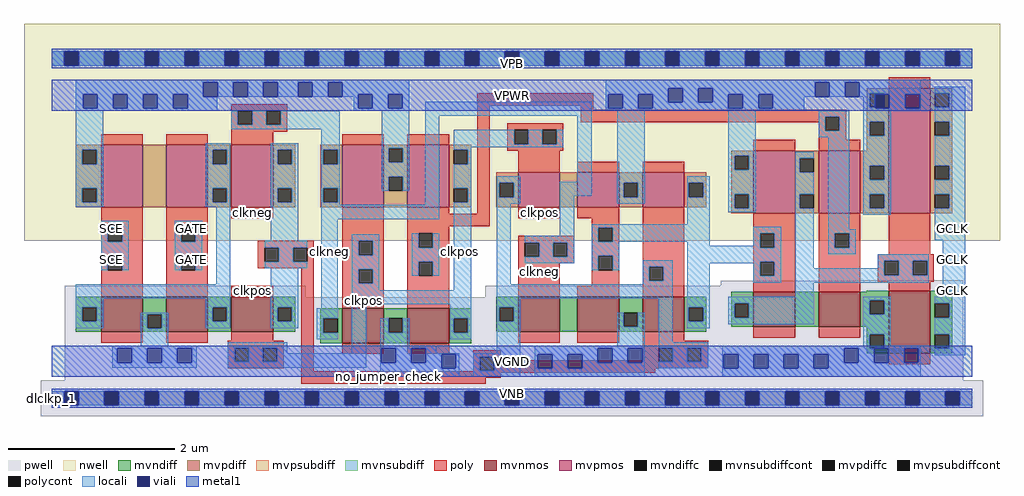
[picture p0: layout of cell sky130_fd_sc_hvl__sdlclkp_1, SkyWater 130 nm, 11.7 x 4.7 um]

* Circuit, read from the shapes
.subckt sky130_fd_sc_hvl__sdlclkp_1 CLK GATE SCE VGND VNB VPB VPWR GCLK
XM1 VGND SCE n1 VNB sky130_fd_pr__nfet_g5v0d10v5 w=0.42 l=0.5
XM2 n1 GATE VGND VNB sky130_fd_pr__nfet_g5v0d10v5 w=0.42 l=0.5
XM3 n2 n3 n1 VNB sky130_fd_pr__nfet_g5v0d10v5 w=0.42 l=0.5
XM4 VGND n3 n4 VNB sky130_fd_pr__nfet_g5v0d10v5 w=0.42 l=0.5
XM5 n3 CLK VGND VNB sky130_fd_pr__nfet_g5v0d10v5 w=0.42 l=0.5
XM6 n5 n4 n2 VNB sky130_fd_pr__nfet_g5v0d10v5 w=0.42 l=0.5
XM7 VGND n6 n5 VNB sky130_fd_pr__nfet_g5v0d10v5 w=0.42 l=0.5
XM8 n6 n2 VGND VNB sky130_fd_pr__nfet_g5v0d10v5 w=0.42 l=0.5
XM9 n7 n6 n8 VNB sky130_fd_pr__nfet_g5v0d10v5 w=0.42 l=0.5
XM10 VGND CLK n7 VNB sky130_fd_pr__nfet_g5v0d10v5 w=0.42 l=0.5
XM11 GCLK n8 VGND VNB sky130_fd_pr__nfet_g5v0d10v5 w=0.75 l=0.5
XM12 n9 SCE VPWR VPB sky130_fd_pr__pfet_g5v0d10v5 w=0.75 l=0.5
XM13 n1 GATE n9 VPB sky130_fd_pr__pfet_g5v0d10v5 w=0.75 l=0.5
XM14 n2 n4 n1 VPB sky130_fd_pr__pfet_g5v0d10v5 w=0.75 l=0.5
XM15 VPWR n3 n4 VPB sky130_fd_pr__pfet_g5v0d10v5 w=0.75 l=0.5
XM16 n3 CLK VPWR VPB sky130_fd_pr__pfet_g5v0d10v5 w=0.75 l=0.5
XM17 n10 n3 n2 VPB sky130_fd_pr__pfet_g5v0d10v5 w=0.42 l=0.5
XM18 VPWR n6 n10 VPB sky130_fd_pr__pfet_g5v0d10v5 w=0.42 l=0.5
XM19 n6 n2 VPWR VPB sky130_fd_pr__pfet_g5v0d10v5 w=0.42 l=0.5
XM20 n8 n6 VPWR VPB sky130_fd_pr__pfet_g5v0d10v5 w=0.75 l=0.5
XM21 VPWR CLK n8 VPB sky130_fd_pr__pfet_g5v0d10v5 w=0.75 l=0.5
XM22 GCLK n8 VPWR VPB sky130_fd_pr__pfet_g5v0d10v5 w=1.5 l=0.5
.ends

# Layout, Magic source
magic
tech sky130A
magscale 1 2
<< nwell >>
rect -66 377 2274 897
<< pwell >>
rect 1928 281 2186 283
rect 1604 269 2186 281
rect 32 242 610 269
rect 1040 242 2186 269
rect 32 43 2186 242
rect -26 -43 2234 43
<< mvnmos >>
rect 119 159 219 243
rect 275 159 375 243
rect 431 159 531 243
rect 697 132 797 216
rect 853 132 953 216
rect 1119 159 1219 243
rect 1261 159 1361 243
rect 1417 159 1517 243
rect 1683 171 1783 255
rect 1839 171 1939 255
rect 2007 107 2107 257
<< mvpmos >>
rect 119 457 219 607
rect 275 457 375 607
rect 431 457 531 607
rect 697 457 797 607
rect 853 457 953 607
rect 1119 457 1219 541
rect 1261 457 1361 541
rect 1417 457 1517 541
rect 1683 443 1783 593
rect 1839 443 1939 593
rect 2007 443 2107 743
<< mvndiff >>
rect 58 218 119 243
rect 58 184 74 218
rect 108 184 119 218
rect 58 159 119 184
rect 219 201 275 243
rect 219 167 230 201
rect 264 167 275 201
rect 219 159 275 167
rect 375 218 431 243
rect 375 184 386 218
rect 420 184 431 218
rect 375 159 431 184
rect 531 218 584 243
rect 531 184 542 218
rect 576 184 584 218
rect 531 159 584 184
rect 1954 255 2007 257
rect 1066 218 1119 243
rect 644 191 697 216
rect 644 157 652 191
rect 686 157 697 191
rect 644 132 697 157
rect 797 191 853 216
rect 797 157 808 191
rect 842 157 853 191
rect 797 132 853 157
rect 953 191 1006 216
rect 953 157 964 191
rect 998 157 1006 191
rect 1066 184 1074 218
rect 1108 184 1119 218
rect 1066 159 1119 184
rect 1219 159 1261 243
rect 1361 205 1417 243
rect 1361 171 1372 205
rect 1406 171 1417 205
rect 1361 159 1417 171
rect 1517 218 1570 243
rect 1517 184 1528 218
rect 1562 184 1570 218
rect 1517 159 1570 184
rect 1630 227 1683 255
rect 1630 193 1638 227
rect 1672 193 1683 227
rect 1630 171 1683 193
rect 1783 171 1839 255
rect 1939 235 2007 255
rect 1939 201 1962 235
rect 1996 201 2007 235
rect 1939 171 2007 201
rect 953 132 1006 157
rect 1954 153 2007 171
rect 1954 119 1962 153
rect 1996 119 2007 153
rect 1954 107 2007 119
rect 2107 227 2160 257
rect 2107 193 2118 227
rect 2152 193 2160 227
rect 2107 153 2160 193
rect 2107 119 2118 153
rect 2152 119 2160 153
rect 2107 107 2160 119
<< mvpdiff >>
rect 1954 731 2007 743
rect 58 595 119 607
rect 58 561 74 595
rect 108 561 119 595
rect 58 503 119 561
rect 58 469 74 503
rect 108 469 119 503
rect 58 457 119 469
rect 219 457 275 607
rect 375 595 431 607
rect 375 561 386 595
rect 420 561 431 595
rect 375 503 431 561
rect 375 469 386 503
rect 420 469 431 503
rect 375 457 431 469
rect 531 595 584 607
rect 531 561 542 595
rect 576 561 584 595
rect 531 503 584 561
rect 531 469 542 503
rect 576 469 584 503
rect 531 457 584 469
rect 644 595 697 607
rect 644 561 652 595
rect 686 561 697 595
rect 644 503 697 561
rect 644 469 652 503
rect 686 469 697 503
rect 644 457 697 469
rect 797 599 853 607
rect 797 565 808 599
rect 842 565 853 599
rect 797 531 853 565
rect 797 497 808 531
rect 842 497 853 531
rect 797 457 853 497
rect 953 595 1006 607
rect 953 561 964 595
rect 998 561 1006 595
rect 953 503 1006 561
rect 953 469 964 503
rect 998 469 1006 503
rect 953 457 1006 469
rect 1954 697 1962 731
rect 1996 697 2007 731
rect 1954 663 2007 697
rect 1954 629 1962 663
rect 1996 629 2007 663
rect 1954 593 2007 629
rect 1630 581 1683 593
rect 1630 547 1638 581
rect 1672 547 1683 581
rect 1066 516 1119 541
rect 1066 482 1074 516
rect 1108 482 1119 516
rect 1066 457 1119 482
rect 1219 457 1261 541
rect 1361 516 1417 541
rect 1361 482 1372 516
rect 1406 482 1417 516
rect 1361 457 1417 482
rect 1517 516 1570 541
rect 1517 482 1528 516
rect 1562 482 1570 516
rect 1517 457 1570 482
rect 1630 489 1683 547
rect 1630 455 1638 489
rect 1672 455 1683 489
rect 1630 443 1683 455
rect 1783 575 1839 593
rect 1783 541 1794 575
rect 1828 541 1839 575
rect 1783 489 1839 541
rect 1783 455 1794 489
rect 1828 455 1839 489
rect 1783 443 1839 455
rect 1939 557 2007 593
rect 1939 523 1962 557
rect 1996 523 2007 557
rect 1939 489 2007 523
rect 1939 455 1962 489
rect 1996 455 2007 489
rect 1939 443 2007 455
rect 2107 731 2160 743
rect 2107 697 2118 731
rect 2152 697 2160 731
rect 2107 663 2160 697
rect 2107 629 2118 663
rect 2152 629 2160 663
rect 2107 557 2160 629
rect 2107 523 2118 557
rect 2152 523 2160 557
rect 2107 489 2160 523
rect 2107 455 2118 489
rect 2152 455 2160 489
rect 2107 443 2160 455
<< mvndiffc >>
rect 74 184 108 218
rect 230 167 264 201
rect 386 184 420 218
rect 542 184 576 218
rect 652 157 686 191
rect 808 157 842 191
rect 964 157 998 191
rect 1074 184 1108 218
rect 1372 171 1406 205
rect 1528 184 1562 218
rect 1638 193 1672 227
rect 1962 201 1996 235
rect 1962 119 1996 153
rect 2118 193 2152 227
rect 2118 119 2152 153
<< mvpdiffc >>
rect 74 561 108 595
rect 74 469 108 503
rect 386 561 420 595
rect 386 469 420 503
rect 542 561 576 595
rect 542 469 576 503
rect 652 561 686 595
rect 652 469 686 503
rect 808 565 842 599
rect 808 497 842 531
rect 964 561 998 595
rect 964 469 998 503
rect 1962 697 1996 731
rect 1962 629 1996 663
rect 1638 547 1672 581
rect 1074 482 1108 516
rect 1372 482 1406 516
rect 1528 482 1562 516
rect 1638 455 1672 489
rect 1794 541 1828 575
rect 1794 455 1828 489
rect 1962 523 1996 557
rect 1962 455 1996 489
rect 2118 697 2152 731
rect 2118 629 2152 663
rect 2118 523 2152 557
rect 2118 455 2152 489
<< mvpsubdiff >>
rect 0 -17 31 17
rect 65 -17 127 17
rect 161 -17 223 17
rect 257 -17 319 17
rect 353 -17 415 17
rect 449 -17 511 17
rect 545 -17 607 17
rect 641 -17 703 17
rect 737 -17 799 17
rect 833 -17 895 17
rect 929 -17 991 17
rect 1025 -17 1087 17
rect 1121 -17 1183 17
rect 1217 -17 1279 17
rect 1313 -17 1375 17
rect 1409 -17 1471 17
rect 1505 -17 1567 17
rect 1601 -17 1663 17
rect 1697 -17 1759 17
rect 1793 -17 1855 17
rect 1889 -17 1951 17
rect 1985 -17 2047 17
rect 2081 -17 2143 17
rect 2177 -17 2208 17
<< mvnsubdiff >>
rect 0 797 31 831
rect 65 797 127 831
rect 161 797 223 831
rect 257 797 319 831
rect 353 797 415 831
rect 449 797 511 831
rect 545 797 607 831
rect 641 797 703 831
rect 737 797 799 831
rect 833 797 895 831
rect 929 797 991 831
rect 1025 797 1087 831
rect 1121 797 1183 831
rect 1217 797 1279 831
rect 1313 797 1375 831
rect 1409 797 1471 831
rect 1505 797 1567 831
rect 1601 797 1663 831
rect 1697 797 1759 831
rect 1793 797 1855 831
rect 1889 797 1951 831
rect 1985 797 2047 831
rect 2081 797 2143 831
rect 2177 797 2208 831
<< mvpsubdiffcont >>
rect 31 -17 65 17
rect 127 -17 161 17
rect 223 -17 257 17
rect 319 -17 353 17
rect 415 -17 449 17
rect 511 -17 545 17
rect 607 -17 641 17
rect 703 -17 737 17
rect 799 -17 833 17
rect 895 -17 929 17
rect 991 -17 1025 17
rect 1087 -17 1121 17
rect 1183 -17 1217 17
rect 1279 -17 1313 17
rect 1375 -17 1409 17
rect 1471 -17 1505 17
rect 1567 -17 1601 17
rect 1663 -17 1697 17
rect 1759 -17 1793 17
rect 1855 -17 1889 17
rect 1951 -17 1985 17
rect 2047 -17 2081 17
rect 2143 -17 2177 17
<< mvnsubdiffcont >>
rect 31 797 65 831
rect 127 797 161 831
rect 223 797 257 831
rect 319 797 353 831
rect 415 797 449 831
rect 511 797 545 831
rect 607 797 641 831
rect 703 797 737 831
rect 799 797 833 831
rect 895 797 929 831
rect 991 797 1025 831
rect 1087 797 1121 831
rect 1183 797 1217 831
rect 1279 797 1313 831
rect 1375 797 1409 831
rect 1471 797 1505 831
rect 1567 797 1601 831
rect 1663 797 1697 831
rect 1759 797 1793 831
rect 1855 797 1889 831
rect 1951 797 1985 831
rect 2047 797 2081 831
rect 2143 797 2177 831
<< poly >>
rect 2007 743 2107 769
rect 431 689 565 705
rect 431 655 447 689
rect 481 655 515 689
rect 549 655 565 689
rect 431 639 565 655
rect 1021 701 1299 731
rect 119 607 219 633
rect 275 607 375 633
rect 431 607 531 639
rect 697 607 797 633
rect 853 607 953 633
rect 119 409 219 457
rect 119 375 135 409
rect 169 375 219 409
rect 119 341 219 375
rect 119 307 135 341
rect 169 307 219 341
rect 119 243 219 307
rect 275 409 375 457
rect 431 431 531 457
rect 275 375 311 409
rect 345 375 375 409
rect 697 377 797 457
rect 275 341 375 375
rect 275 307 311 341
rect 345 307 375 341
rect 495 361 629 377
rect 495 327 511 361
rect 545 327 579 361
rect 613 327 629 361
rect 495 311 629 327
rect 275 243 375 307
rect 431 243 531 269
rect 119 133 219 159
rect 275 133 375 159
rect 431 137 531 159
rect 423 121 557 137
rect 423 87 439 121
rect 473 87 507 121
rect 541 87 557 121
rect 423 71 557 87
rect 599 64 629 311
rect 697 343 736 377
rect 770 343 797 377
rect 697 309 797 343
rect 697 275 736 309
rect 770 275 797 309
rect 697 216 797 275
rect 853 442 953 457
rect 1021 442 1051 701
rect 1269 691 1299 701
rect 1269 675 1905 691
rect 1269 661 1855 675
rect 1093 643 1227 659
rect 1093 609 1109 643
rect 1143 609 1177 643
rect 1211 609 1227 643
rect 1839 641 1855 661
rect 1889 641 1905 675
rect 1839 619 1905 641
rect 1093 593 1227 609
rect 1683 593 1783 619
rect 1839 593 1939 619
rect 1119 541 1219 593
rect 1261 541 1361 567
rect 1417 541 1517 567
rect 853 412 1051 442
rect 1119 431 1219 457
rect 1261 431 1361 457
rect 853 395 953 412
rect 853 361 880 395
rect 914 361 953 395
rect 1295 409 1361 431
rect 853 327 953 361
rect 853 293 880 327
rect 914 293 953 327
rect 853 216 953 293
rect 1119 373 1253 389
rect 1119 339 1135 373
rect 1169 339 1203 373
rect 1237 339 1253 373
rect 1119 323 1253 339
rect 1295 375 1311 409
rect 1345 375 1361 409
rect 1295 341 1361 375
rect 1119 243 1219 323
rect 1295 307 1311 341
rect 1345 307 1361 341
rect 1295 269 1361 307
rect 1261 243 1361 269
rect 1417 315 1517 457
rect 1417 281 1433 315
rect 1467 281 1517 315
rect 1417 243 1517 281
rect 1683 395 1783 443
rect 1683 361 1699 395
rect 1733 361 1783 395
rect 1683 327 1783 361
rect 1683 293 1699 327
rect 1733 293 1783 327
rect 1683 255 1783 293
rect 1839 395 1939 443
rect 1839 361 1878 395
rect 1912 361 1939 395
rect 1839 255 1939 361
rect 2007 345 2107 443
rect 1981 329 2115 345
rect 1981 295 1997 329
rect 2031 295 2065 329
rect 2099 295 2115 329
rect 1981 279 2115 295
rect 2007 257 2107 279
rect 1119 133 1219 159
rect 1261 133 1361 159
rect 1417 137 1517 159
rect 1683 145 1783 171
rect 1839 145 1939 171
rect 697 106 797 132
rect 853 106 953 132
rect 1417 121 1574 137
rect 1011 99 1077 115
rect 1011 65 1027 99
rect 1061 91 1077 99
rect 1417 91 1456 121
rect 1061 87 1456 91
rect 1490 87 1524 121
rect 1558 87 1574 121
rect 1061 71 1574 87
rect 2007 81 2107 107
rect 1061 65 1447 71
rect 1011 64 1447 65
rect 599 61 1447 64
rect 599 49 1077 61
rect 599 34 1041 49
<< polycont >>
rect 447 655 481 689
rect 515 655 549 689
rect 135 375 169 409
rect 135 307 169 341
rect 311 375 345 409
rect 311 307 345 341
rect 511 327 545 361
rect 579 327 613 361
rect 439 87 473 121
rect 507 87 541 121
rect 736 343 770 377
rect 736 275 770 309
rect 1109 609 1143 643
rect 1177 609 1211 643
rect 1855 641 1889 675
rect 880 361 914 395
rect 880 293 914 327
rect 1135 339 1169 373
rect 1203 339 1237 373
rect 1311 375 1345 409
rect 1311 307 1345 341
rect 1433 281 1467 315
rect 1699 361 1733 395
rect 1699 293 1733 327
rect 1878 361 1912 395
rect 1997 295 2031 329
rect 2065 295 2099 329
rect 1027 65 1061 99
rect 1456 87 1490 121
rect 1524 87 1558 121
<< locali >>
rect 0 797 31 831
rect 65 797 127 831
rect 161 797 223 831
rect 257 797 319 831
rect 353 797 415 831
rect 449 797 511 831
rect 545 797 607 831
rect 641 797 703 831
rect 737 797 799 831
rect 833 797 895 831
rect 929 797 991 831
rect 1025 797 1087 831
rect 1121 797 1183 831
rect 1217 797 1279 831
rect 1313 797 1375 831
rect 1409 797 1471 831
rect 1505 797 1567 831
rect 1601 797 1663 831
rect 1697 797 1759 831
rect 1793 797 1855 831
rect 1889 797 1951 831
rect 1985 797 2047 831
rect 2081 797 2143 831
rect 2177 797 2208 831
rect 58 757 858 763
rect 58 729 364 757
rect 58 695 76 729
rect 110 695 148 729
rect 182 695 220 729
rect 254 695 292 729
rect 326 723 364 729
rect 398 723 436 757
rect 470 723 508 757
rect 542 723 591 757
rect 625 723 663 757
rect 697 729 858 757
rect 697 723 735 729
rect 326 695 397 723
rect 58 689 397 695
rect 725 695 735 723
rect 769 695 807 729
rect 841 695 858 729
rect 1329 757 2084 763
rect 1329 743 1831 757
rect 1329 729 1479 743
rect 725 689 858 695
rect 58 595 124 689
rect 431 655 447 689
rect 481 655 515 689
rect 549 655 691 689
rect 431 645 691 655
rect 58 561 74 595
rect 108 561 124 595
rect 58 503 124 561
rect 58 469 74 503
rect 108 469 124 503
rect 58 459 124 469
rect 370 595 429 611
rect 370 561 386 595
rect 420 561 429 595
rect 370 503 429 561
rect 370 469 386 503
rect 420 469 429 503
rect 370 459 429 469
rect 119 409 185 425
rect 119 375 135 409
rect 169 375 185 409
rect 119 341 185 375
rect 119 307 135 341
rect 169 307 185 341
rect 295 409 361 425
rect 295 375 311 409
rect 345 375 361 409
rect 295 341 361 375
rect 295 307 311 341
rect 345 307 361 341
rect 395 273 429 459
rect 526 595 592 611
rect 526 561 542 595
rect 576 561 592 595
rect 526 503 592 561
rect 526 469 542 503
rect 576 469 592 503
rect 526 377 592 469
rect 647 595 691 645
rect 647 561 652 595
rect 686 561 691 595
rect 647 503 691 561
rect 647 469 652 503
rect 686 469 691 503
rect 792 599 858 689
rect 792 565 808 599
rect 842 565 858 599
rect 792 531 858 565
rect 792 497 808 531
rect 842 497 858 531
rect 896 677 1295 711
rect 1329 695 1335 729
rect 1369 695 1407 729
rect 1441 709 1479 729
rect 1513 709 1551 743
rect 1585 729 1831 743
rect 1585 709 1623 729
rect 1441 695 1623 709
rect 1657 695 1695 729
rect 1729 723 1831 729
rect 1865 723 1903 757
rect 1937 731 2084 757
rect 1937 723 1962 731
rect 1996 729 2084 731
rect 1729 695 1805 723
rect 1329 689 1805 695
rect 1946 697 1962 723
rect 1946 695 1975 697
rect 2009 695 2047 729
rect 2081 695 2084 729
rect 1946 689 2084 695
rect 2118 731 2191 747
rect 2152 697 2191 731
rect 647 463 691 469
rect 896 463 930 677
rect 647 429 930 463
rect 964 609 1109 643
rect 1143 609 1177 643
rect 1211 609 1227 643
rect 964 601 1227 609
rect 964 595 1006 601
rect 998 561 1006 595
rect 964 503 1006 561
rect 998 469 1006 503
rect 511 361 613 377
rect 545 327 579 361
rect 511 311 613 327
rect 58 239 429 273
rect 58 218 124 239
rect 58 184 74 218
rect 108 184 124 218
rect 370 218 429 239
rect 58 168 124 184
rect 214 201 280 205
rect 214 167 230 201
rect 264 167 280 201
rect 370 184 386 218
rect 420 184 429 218
rect 370 168 429 184
rect 526 218 592 311
rect 526 184 542 218
rect 576 184 592 218
rect 647 216 686 429
rect 526 168 592 184
rect 636 191 686 216
rect 214 125 280 167
rect 636 157 652 191
rect 636 141 686 157
rect 720 377 786 393
rect 720 343 736 377
rect 770 343 786 377
rect 720 309 786 343
rect 720 275 736 309
rect 770 275 786 309
rect 864 361 880 395
rect 914 361 930 395
rect 864 327 930 361
rect 864 293 880 327
rect 914 293 930 327
rect 720 259 786 275
rect 964 259 1006 469
rect 720 225 1006 259
rect 146 119 348 125
rect 146 85 158 119
rect 192 85 230 119
rect 264 85 302 119
rect 336 85 348 119
rect 146 73 348 85
rect 423 121 565 134
rect 423 87 439 121
rect 473 87 507 121
rect 541 107 565 121
rect 720 107 754 225
rect 956 191 1006 225
rect 541 87 754 107
rect 423 73 754 87
rect 788 157 808 191
rect 842 157 858 191
rect 788 125 858 157
rect 956 157 964 191
rect 998 157 1006 191
rect 956 141 1006 157
rect 1067 516 1124 532
rect 1261 519 1295 677
rect 1067 482 1074 516
rect 1108 482 1124 516
rect 1067 466 1124 482
rect 1219 485 1295 519
rect 1356 516 1422 689
rect 1622 581 1688 689
rect 1839 675 1912 689
rect 1839 641 1855 675
rect 1889 641 1912 675
rect 1839 625 1912 641
rect 1622 547 1638 581
rect 1672 547 1688 581
rect 1067 273 1101 466
rect 1219 389 1253 485
rect 1356 482 1372 516
rect 1406 482 1422 516
rect 1356 466 1422 482
rect 1524 516 1578 532
rect 1524 482 1528 516
rect 1562 482 1578 516
rect 1524 417 1578 482
rect 1622 489 1688 547
rect 1622 455 1638 489
rect 1672 455 1688 489
rect 1622 445 1688 455
rect 1783 575 1828 591
rect 1783 541 1794 575
rect 1783 489 1828 541
rect 1783 455 1794 489
rect 1135 373 1253 389
rect 1169 339 1203 373
rect 1237 339 1253 373
rect 1135 323 1253 339
rect 1295 409 1578 417
rect 1295 375 1311 409
rect 1345 375 1578 409
rect 1295 341 1361 375
rect 1295 307 1311 341
rect 1345 307 1361 341
rect 1524 365 1578 375
rect 1683 395 1749 411
rect 1683 365 1699 395
rect 1524 361 1699 365
rect 1733 361 1749 395
rect 1417 315 1490 331
rect 1417 281 1433 315
rect 1467 281 1490 315
rect 1417 273 1490 281
rect 1067 239 1490 273
rect 1067 218 1124 239
rect 1067 184 1074 218
rect 1108 184 1124 218
rect 788 119 922 125
rect 788 85 791 119
rect 825 85 863 119
rect 897 107 922 119
rect 1067 107 1124 184
rect 1356 171 1372 205
rect 1406 171 1422 205
rect 1356 125 1422 171
rect 897 105 977 107
rect 897 85 935 105
rect 788 71 935 85
rect 969 71 977 105
rect 788 51 977 71
rect 1011 99 1124 107
rect 1011 65 1027 99
rect 1061 65 1124 99
rect 1011 51 1124 65
rect 1158 119 1422 125
rect 1158 105 1310 119
rect 1158 71 1166 105
rect 1200 71 1238 105
rect 1272 85 1310 105
rect 1344 85 1382 119
rect 1416 85 1422 119
rect 1272 71 1422 85
rect 1456 134 1490 239
rect 1524 327 1749 361
rect 1524 323 1699 327
rect 1524 218 1578 323
rect 1683 293 1699 323
rect 1733 293 1749 327
rect 1683 277 1749 293
rect 1783 311 1828 455
rect 1862 405 1912 625
rect 1946 663 2012 689
rect 1946 629 1962 663
rect 1996 629 2012 663
rect 1946 557 2012 629
rect 1946 523 1962 557
rect 1996 523 2012 557
rect 1946 489 2012 523
rect 1946 455 1962 489
rect 1996 455 2012 489
rect 1946 439 2012 455
rect 2118 663 2191 697
rect 2152 629 2191 663
rect 2118 557 2191 629
rect 2152 523 2191 557
rect 2118 489 2191 523
rect 2152 455 2191 489
rect 1862 395 1928 405
rect 1862 361 1878 395
rect 1912 361 1928 395
rect 2118 379 2191 455
rect 1862 345 1928 361
rect 1981 329 2103 345
rect 1981 311 1997 329
rect 1783 295 1997 311
rect 2031 295 2065 329
rect 2099 295 2103 329
rect 1783 277 2103 295
rect 1783 243 1828 277
rect 2137 243 2191 379
rect 1524 184 1528 218
rect 1562 184 1578 218
rect 1524 168 1578 184
rect 1622 227 1828 243
rect 1622 193 1638 227
rect 1672 193 1828 227
rect 1622 177 1828 193
rect 1946 235 2012 243
rect 1946 201 1962 235
rect 1996 201 2012 235
rect 1946 153 2012 201
rect 1456 121 1574 134
rect 1946 125 1962 153
rect 1490 87 1524 121
rect 1558 87 1574 121
rect 1456 71 1574 87
rect 1608 119 1962 125
rect 1996 125 2012 153
rect 2118 227 2191 243
rect 2152 193 2191 227
rect 2118 153 2191 193
rect 1996 119 2084 125
rect 1608 105 1900 119
rect 1608 71 1612 105
rect 1646 71 1684 105
rect 1718 71 1756 105
rect 1790 71 1828 105
rect 1862 85 1900 105
rect 1934 85 1972 119
rect 2006 85 2044 119
rect 2078 85 2084 119
rect 2152 119 2191 153
rect 2118 103 2191 119
rect 1862 71 2084 85
rect 1158 51 1422 71
rect 1608 51 2084 71
rect 0 -17 31 17
rect 65 -17 127 17
rect 161 -17 223 17
rect 257 -17 319 17
rect 353 -17 415 17
rect 449 -17 511 17
rect 545 -17 607 17
rect 641 -17 703 17
rect 737 -17 799 17
rect 833 -17 895 17
rect 929 -17 991 17
rect 1025 -17 1087 17
rect 1121 -17 1183 17
rect 1217 -17 1279 17
rect 1313 -17 1375 17
rect 1409 -17 1471 17
rect 1505 -17 1567 17
rect 1601 -17 1663 17
rect 1697 -17 1759 17
rect 1793 -17 1855 17
rect 1889 -17 1951 17
rect 1985 -17 2047 17
rect 2081 -17 2143 17
rect 2177 -17 2208 17
<< viali >>
rect 31 797 65 831
rect 127 797 161 831
rect 223 797 257 831
rect 319 797 353 831
rect 415 797 449 831
rect 511 797 545 831
rect 607 797 641 831
rect 703 797 737 831
rect 799 797 833 831
rect 895 797 929 831
rect 991 797 1025 831
rect 1087 797 1121 831
rect 1183 797 1217 831
rect 1279 797 1313 831
rect 1375 797 1409 831
rect 1471 797 1505 831
rect 1567 797 1601 831
rect 1663 797 1697 831
rect 1759 797 1793 831
rect 1855 797 1889 831
rect 1951 797 1985 831
rect 2047 797 2081 831
rect 2143 797 2177 831
rect 76 695 110 729
rect 148 695 182 729
rect 220 695 254 729
rect 292 695 326 729
rect 364 723 398 757
rect 436 723 470 757
rect 508 723 542 757
rect 591 723 625 757
rect 663 723 697 757
rect 735 695 769 729
rect 807 695 841 729
rect 1335 695 1369 729
rect 1407 695 1441 729
rect 1479 709 1513 743
rect 1551 709 1585 743
rect 1623 695 1657 729
rect 1695 695 1729 729
rect 1831 723 1865 757
rect 1903 723 1937 757
rect 1975 697 1996 729
rect 1996 697 2009 729
rect 1975 695 2009 697
rect 2047 695 2081 729
rect 158 85 192 119
rect 230 85 264 119
rect 302 85 336 119
rect 791 85 825 119
rect 863 85 897 119
rect 935 71 969 105
rect 1166 71 1200 105
rect 1238 71 1272 105
rect 1310 85 1344 119
rect 1382 85 1416 119
rect 1612 71 1646 105
rect 1684 71 1718 105
rect 1756 71 1790 105
rect 1828 71 1862 105
rect 1900 85 1934 119
rect 1972 85 2006 119
rect 2044 85 2078 119
rect 31 -17 65 17
rect 127 -17 161 17
rect 223 -17 257 17
rect 319 -17 353 17
rect 415 -17 449 17
rect 511 -17 545 17
rect 607 -17 641 17
rect 703 -17 737 17
rect 799 -17 833 17
rect 895 -17 929 17
rect 991 -17 1025 17
rect 1087 -17 1121 17
rect 1183 -17 1217 17
rect 1279 -17 1313 17
rect 1375 -17 1409 17
rect 1471 -17 1505 17
rect 1567 -17 1601 17
rect 1663 -17 1697 17
rect 1759 -17 1793 17
rect 1855 -17 1889 17
rect 1951 -17 1985 17
rect 2047 -17 2081 17
rect 2143 -17 2177 17
<< metal1 >>
rect 0 831 2208 837
rect 0 797 31 831
rect 65 797 127 831
rect 161 797 223 831
rect 257 797 319 831
rect 353 797 415 831
rect 449 797 511 831
rect 545 797 607 831
rect 641 797 703 831
rect 737 797 799 831
rect 833 797 895 831
rect 929 797 991 831
rect 1025 797 1087 831
rect 1121 797 1183 831
rect 1217 797 1279 831
rect 1313 797 1375 831
rect 1409 797 1471 831
rect 1505 797 1567 831
rect 1601 797 1663 831
rect 1697 797 1759 831
rect 1793 797 1855 831
rect 1889 797 1951 831
rect 1985 797 2047 831
rect 2081 797 2143 831
rect 2177 797 2208 831
rect 0 791 2208 797
rect 0 757 2208 763
rect 0 729 364 757
rect 0 695 76 729
rect 110 695 148 729
rect 182 695 220 729
rect 254 695 292 729
rect 326 723 364 729
rect 398 723 436 757
rect 470 723 508 757
rect 542 723 591 757
rect 625 723 663 757
rect 697 743 1831 757
rect 697 729 1479 743
rect 697 723 735 729
rect 326 695 735 723
rect 769 695 807 729
rect 841 695 1335 729
rect 1369 695 1407 729
rect 1441 709 1479 729
rect 1513 709 1551 743
rect 1585 729 1831 743
rect 1585 709 1623 729
rect 1441 695 1623 709
rect 1657 695 1695 729
rect 1729 723 1831 729
rect 1865 723 1903 757
rect 1937 729 2208 757
rect 1937 723 1975 729
rect 1729 695 1975 723
rect 2009 695 2047 729
rect 2081 695 2208 729
rect 0 689 2208 695
rect 0 119 2208 125
rect 0 85 158 119
rect 192 85 230 119
rect 264 85 302 119
rect 336 85 791 119
rect 825 85 863 119
rect 897 105 1310 119
rect 897 85 935 105
rect 0 71 935 85
rect 969 71 1166 105
rect 1200 71 1238 105
rect 1272 85 1310 105
rect 1344 85 1382 119
rect 1416 105 1900 119
rect 1416 85 1612 105
rect 1272 71 1612 85
rect 1646 71 1684 105
rect 1718 71 1756 105
rect 1790 71 1828 105
rect 1862 85 1900 105
rect 1934 85 1972 119
rect 2006 85 2044 119
rect 2078 85 2208 119
rect 1862 71 2208 85
rect 0 51 2208 71
rect 0 17 2208 23
rect 0 -17 31 17
rect 65 -17 127 17
rect 161 -17 223 17
rect 257 -17 319 17
rect 353 -17 415 17
rect 449 -17 511 17
rect 545 -17 607 17
rect 641 -17 703 17
rect 737 -17 799 17
rect 833 -17 895 17
rect 929 -17 991 17
rect 1025 -17 1087 17
rect 1121 -17 1183 17
rect 1217 -17 1279 17
rect 1313 -17 1375 17
rect 1409 -17 1471 17
rect 1505 -17 1567 17
rect 1601 -17 1663 17
rect 1697 -17 1759 17
rect 1793 -17 1855 17
rect 1889 -17 1951 17
rect 1985 -17 2047 17
rect 2081 -17 2143 17
rect 2177 -17 2208 17
rect 0 -23 2208 -17
<< labels >>
flabel comment s 1170 303 1170 303 0 FreeSans 200 0 0 0 clkneg
flabel comment s 748 234 748 234 0 FreeSans 200 0 0 0 clkpos
flabel comment s 1170 446 1170 446 0 FreeSans 200 0 0 0 clkpos
rlabel comment s 0 0 0 0 4 dlclkp_1
flabel comment s 666 352 666 352 0 FreeSans 200 90 0 0 clkneg
flabel comment s 482 259 482 259 0 FreeSans 200 0 0 0 clkpos
flabel comment s 978 352 978 352 0 FreeSans 200 90 0 0 clkpos
flabel comment s 482 446 482 446 0 FreeSans 200 0 0 0 clkneg
flabel comment s 807 51 807 51 0 FreeSans 200 0 0 0 no_jumper_check
flabel metal1 s 0 51 2208 125 0 FreeSans 340 0 0 0 VGND
port 4 nsew ground bidirectional
flabel metal1 s 0 0 2208 23 0 FreeSans 340 0 0 0 VNB
port 5 nsew ground bidirectional
flabel metal1 s 0 689 2208 763 0 FreeSans 340 0 0 0 VPWR
port 7 nsew power bidirectional
flabel metal1 s 0 791 2208 814 0 FreeSans 340 0 0 0 VPB
port 6 nsew power bidirectional
flabel locali s 319 316 353 350 0 FreeSans 340 0 0 0 GATE
port 2 nsew signal input
flabel locali s 895 316 929 350 0 FreeSans 340 0 0 0 CLK
port 1 nsew clock input
flabel locali s 2143 390 2177 424 0 FreeSans 340 0 0 0 GCLK
port 8 nsew signal output
flabel locali s 2143 316 2177 350 0 FreeSans 340 0 0 0 GCLK
port 8 nsew signal output
flabel locali s 2143 242 2177 276 0 FreeSans 340 0 0 0 GCLK
port 8 nsew signal output
flabel locali s 127 316 161 350 0 FreeSans 340 0 0 0 SCE
port 3 nsew signal input
flabel locali s 127 390 161 424 0 FreeSans 340 0 0 0 SCE
port 3 nsew signal input
flabel locali s 319 390 353 424 0 FreeSans 340 0 0 0 GATE
port 2 nsew signal input
<< properties >>
string FIXED_BBOX 0 0 2208 814
string GDS_END 695048
string GDS_FILE $PDKPATH/libs.ref/sky130_fd_sc_hvl/gds/sky130_fd_sc_hvl.gds
string GDS_START 672184
string LEFclass CORE
string LEFsite unithv
string LEFsymmetry X Y
<< end >>
